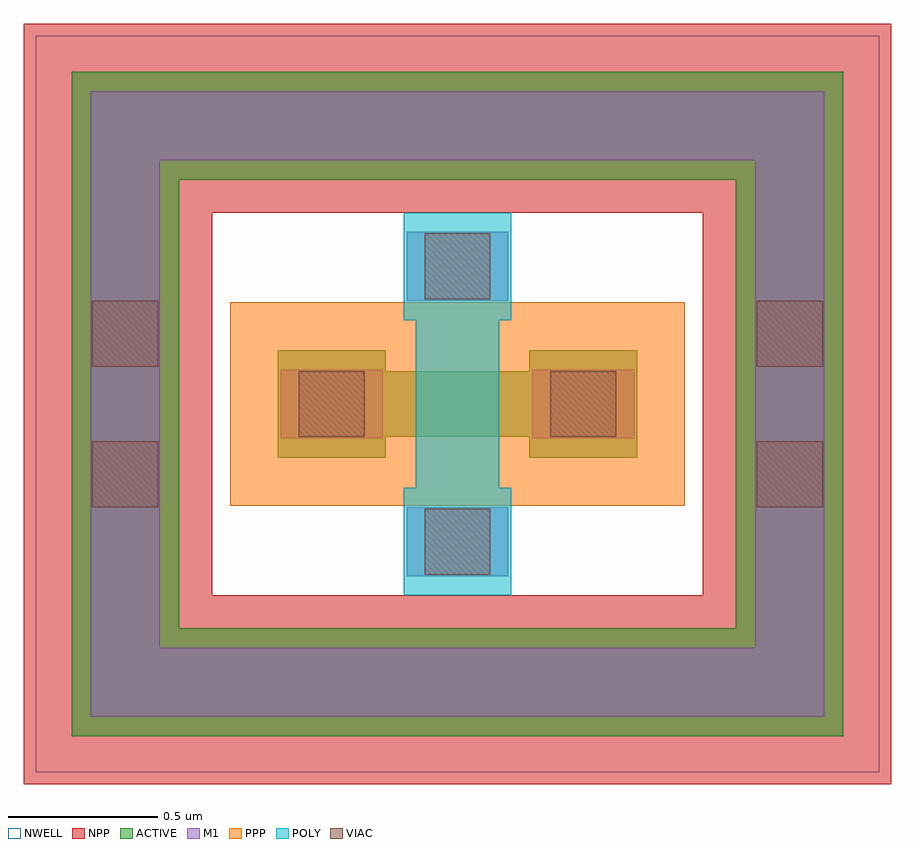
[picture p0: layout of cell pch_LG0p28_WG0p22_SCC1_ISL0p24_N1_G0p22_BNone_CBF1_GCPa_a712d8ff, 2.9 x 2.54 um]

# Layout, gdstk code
import gdstk
lib = gdstk.Library(unit=1e-6, precision=1e-09)
def R(c, l, rs):  # rectangles x0, y0, x1, y1
    for r in rs: c.add(gdstk.rectangle(r[:2], r[2:], *l))
ACTIVE = (10, 0)
POLY = (11, 0)
NWELL = (12, 0)
NPP = (24, 0)
PPP = (25, 0)
VIAC = (40, 0)
M1 = (41, 0)

pch_lg0p28_wg0p22_scc1_i = lib.new_cell('pch_LG0p28_WG0p22_SCC1_ISL0p24_N1_G0p22_BNone_CBF1_GCPa_a712d8ff')
R(pch_lg0p28_wg0p22_scc1_i, ACTIVE, [(-1.29,-1.11,1.29,-0.75), (-1.29,-1.11,-0.93,1.11), (0.93,-1.11,1.29,1.11), (-1.29,-0.595,-0.93,0.595), (0.93,-0.595,1.29,0.595), (-0.6,-0.18,-0.24,-0.11), (-0.6,-0.18,-0.24,0.18), (0.24,-0.18,0.6,-0.11), (0.24,-0.18,0.6,0.18), (-0.535,-0.11,0.535,0.11), (-0.6,0.11,-0.24,0.18), (0.24,0.11,0.6,0.18), (-1.29,0.75,1.29,1.11)])
R(pch_lg0p28_wg0p22_scc1_i, POLY, [(-0.18,-0.64,0.18,-0.28), (-0.14,-0.46,0.14,0.46), (-0.18,0.28,0.18,0.64)])
R(pch_lg0p28_wg0p22_scc1_i, NWELL, [(-1.41,-1.23,1.41,1.23)])
R(pch_lg0p28_wg0p22_scc1_i, NPP, [(-1.45,-1.27,1.45,-0.64), (-1.45,-0.64,-0.82,0.64), (0.82,-0.64,1.45,0.64), (-1.45,0.64,1.45,1.27)])
R(pch_lg0p28_wg0p22_scc1_i, PPP, [(-0.76,-0.34,0.76,0.34)])
R(pch_lg0p28_wg0p22_scc1_i, VIAC, [(-0.11,-0.57,0.11,-0.35), (-1.22,-0.345,-1,-0.125), (1,-0.345,1.22,-0.125), (-0.53,-0.11,-0.31,0.11), (0.31,-0.11,0.53,0.11), (-1.22,0.125,-1,0.345), (1,0.125,1.22,0.345), (-0.11,0.35,0.11,0.57)])
R(pch_lg0p28_wg0p22_scc1_i, M1, [(-1.225,-1.045,1.225,-0.815), (-1.225,-1.045,-0.995,1.045), (0.995,-1.045,1.225,1.045), (-1.225,-0.585,-0.995,0.585), (0.995,-0.585,1.225,0.585), (-0.17,-0.575,0.17,-0.345), (-0.59,-0.115,-0.25,0.115), (0.25,-0.115,0.59,0.115), (-0.17,0.345,0.17,0.575), (-1.225,0.815,1.225,1.045)])

lib.write_gds('pch_LG0p28_WG0p22_SCC1_ISL0p24_N1_G0p22_BNone_CBF1_GCPa_a712d8ff.gds')
